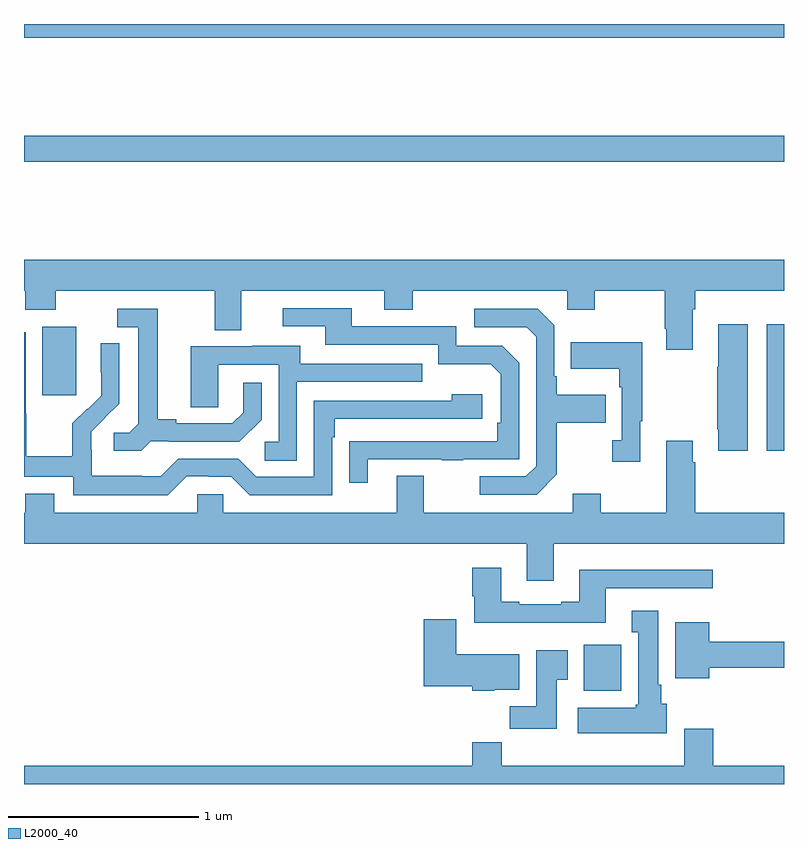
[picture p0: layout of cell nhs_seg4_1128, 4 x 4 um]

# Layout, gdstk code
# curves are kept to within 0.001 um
import gdstk
lib = gdstk.Library(unit=1e-6, precision=1e-09)
def R(c, l, rs):  # rectangles x0, y0, x1, y1
    for r in rs: c.add(gdstk.rectangle(r[:2], r[2:], *l))
def P(c, l, *ps):  # polygons
    for p in ps: c.add(gdstk.Polygon(p, *l))
L2000_40 = (2000, 40)

nhs_seg4_1128 = lib.new_cell('nhs_seg4_1128')
R(nhs_seg4_1128, L2000_40, [(171.947,785.39,172.144,785.632), (172.91,786.654,173,787.321), (169.097,786.945,169.276,787.306), (169,788.176,173,788.312), (169,788.828,173,788.9)])
P(nhs_seg4_1128, L2000_40, [(172.519,787.4),(172.532,787.4),(172.532,787.496),(173,787.496),(173,787.66),(169,787.66),(169,787.496),(169.007,787.496),(169.007,787.397),(169.167,787.397),(169.167,787.496),(170.003,787.496),(170.003,787.288),(170.143,787.288),(170.143,787.496),(170.897,787.496),(170.897,787.397),(171.045,787.397),(171.045,787.496),(171.858,787.496),(171.858,787.397),(172.005,787.397),(172.005,787.496),(172.372,787.496),(172.372,787.297),(172.379,787.297),(172.379,787.185),(172.519,787.185)],
  [(170.809,786.609),(171.199,786.609),(171.199,786.604),(171.311,786.604),(171.311,786.609),(171.606,786.609),(171.606,787.116),(171.516,787.206),(171.276,787.206),(171.276,787.308),(170.725,787.308),(170.725,787.404),(170.361,787.404),(170.361,787.308),(170.585,787.308),(170.585,787.212),(171.18,787.212),(171.18,787.109),(171.457,787.109),(171.51,787.056),(171.51,786.802),(171.49,786.802),(171.49,786.705),(170.713,786.704),(170.713,786.486),(170.809,786.486)],
  [(171.805,786.529),(171.805,786.802),(172.061,786.802),(172.061,786.949),(171.805,786.949),(171.805,787.045),(171.792,787.045),(171.792,787.314),(171.705,787.401),(171.369,787.401),(171.369,787.305),(171.645,787.305),(171.696,787.254),(171.696,786.573),(171.642,786.519),(171.399,786.519),(171.399,786.423),(171.699,786.423)],
  [(169.668,786.705),(169.762,786.705),(169.762,786.702),(170.134,786.702),(170.25,786.818),(170.25,787.012),(170.153,787.012),(170.153,786.855),(170.096,786.798),(169.801,786.798),(169.801,786.821),(169.705,786.821),(169.705,787.401),(169.491,787.401),(169.491,787.305),(169.601,787.305),(169.601,786.797),(169.554,786.75),(169.473,786.75),(169.473,786.653),(169.616,786.653)],
  [(172.81,787.321),(172.655,787.321),(172.655,787.097),(172.648,787.097),(172.648,786.766),(172.655,786.766),(172.655,786.654),(172.81,786.654)],
  [(169.857,786.519),(169.973,786.519),(169.973,786.516),(170.091,786.516),(170.187,786.42),(170.622,786.42),(170.622,786.725),(170.635,786.725),(170.635,786.822),(171.412,786.822),(171.412,786.952),(171.251,786.952),(171.251,786.918),(170.526,786.918),(170.526,786.516),(170.223,786.516),(170.127,786.612),(169.812,786.612),(169.719,786.519),(169.619,786.519),(169.619,786.523),(169.356,786.523),(169.356,786.657),(169.354,786.657),(169.354,786.754),(169.5,786.902),(169.5,787.22),(169.404,787.22),(169.404,787.066),(169.406,787.066),(169.406,786.944),(169.335,786.873),(169.332,786.876),(169.255,786.799),(169.255,786.625),(169.011,786.625),(169.011,786.848),(169.008,786.848),(169.008,787.278),(169,787.278),(169,786.516),(169.26,786.516),(169.26,786.419),(169.757,786.419)],
  [(172.243,786.809),(172.255,786.809),(172.255,787.225),(171.877,787.225),(171.877,787.085),(172.134,787.085),(172.134,786.989),(172.146,786.989),(172.146,786.71),(172.095,786.71),(172.095,786.597),(172.243,786.597)],
  [(170.436,787.017),(171.095,787.017),(171.095,787.113),(170.455,787.113),(170.455,787.207),(170.201,787.207),(170.201,787.203),(169.877,787.203),(169.877,786.883),(170.022,786.883),(170.022,787.107),(170.34,787.107),(170.34,786.702),(170.268,786.702),(170.268,786.601),(170.436,786.601)],
  [(171.787,786.164),(173,786.164),(173,786.328),(172.532,786.328),(172.532,786.593),(172.519,786.593),(172.519,786.706),(172.379,786.706),(172.379,786.328),(172.035,786.328),(172.035,786.427),(171.887,786.427),(171.887,786.328),(171.103,786.328),(171.103,786.523),(170.963,786.523),(170.963,786.328),(170.049,786.328),(170.049,786.426),(169.911,786.426),(169.911,786.328),(169.159,786.328),(169.159,786.427),(169.007,786.427),(169.007,786.328),(169,786.328),(169,786.164),(171.647,786.164),(171.647,785.97),(171.787,785.97)],
  [(172.063,785.931),(172.624,785.931),(172.624,786.028),(171.923,786.028),(171.923,785.86),(171.827,785.86),(171.827,785.847),(171.607,785.847),(171.607,785.86),(171.511,785.86),(171.511,786.037),(171.359,786.037),(171.359,785.889),(171.371,785.889),(171.371,785.75),(172.063,785.75)],
  [(172.384,785.322),(172.354,785.322),(172.354,785.422),(172.339,785.422),(172.339,785.812),(172.199,785.812),(172.199,785.699),(172.232,785.699),(172.232,785.316),(172.219,785.316),(172.219,785.302),(171.915,785.302),(171.915,785.168),(172.384,785.168)],
  [(171.474,785.396),(171.607,785.396),(171.607,785.584),(171.274,785.584),(171.274,785.767),(171.104,785.767),(171.104,785.414),(171.36,785.414),(171.36,785.39),(171.474,785.39)],
  [(172.606,785.512),(173,785.512),(173,785.648),(172.606,785.648),(172.606,785.752),(172.427,785.752),(172.427,785.456),(172.606,785.456)],
  [(171.805,785.449),(171.862,785.449),(171.862,785.605),(171.695,785.605),(171.695,785.308),(171.556,785.308),(171.556,785.19),(171.805,785.19)],
  [(173,784.996),(172.628,784.996),(172.628,785.191),(172.475,785.191),(172.475,784.996),(171.515,784.996),(171.515,785.12),(171.359,785.12),(171.359,784.996),(169,784.996),(169,784.9),(173,784.9)])

lib.write_gds('nhs_seg4_1128.gds')
